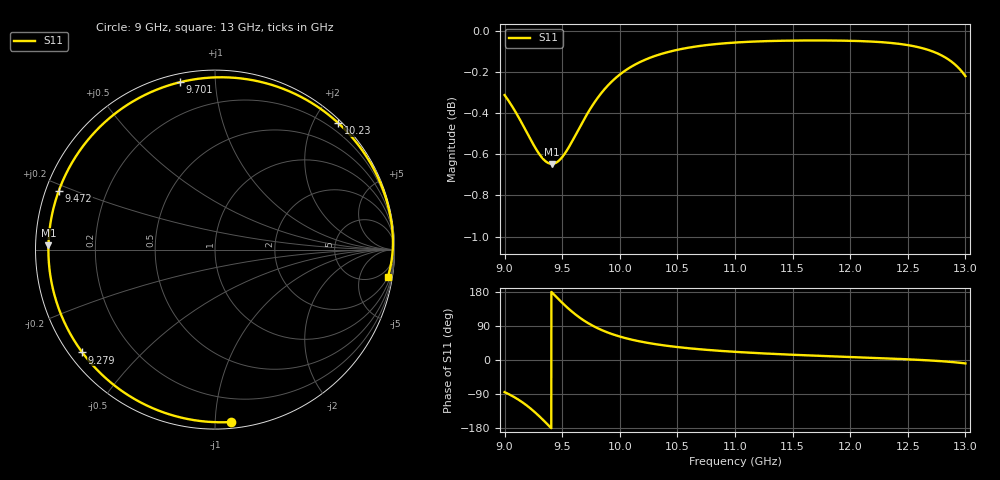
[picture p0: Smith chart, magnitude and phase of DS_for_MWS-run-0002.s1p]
! TOUCHSTONE file generated by CST DESIGN STUDIO
! Date and time: Tue Feb  4 16:22:48 2025
! Project name: C:\Work\MatlabApps\UnitCellOptimizationMatlab\CST\unitcell.cst
! Tree item: Tasks\Sweep1\SPara1\S-Parameters
! Header version: 2024
! Port assignment regex: !\s*Touchstone port\s*([0-9]+)\s*=\s*(CST MWS port|CST DES external port|CST DES block port)\s*(.+)\s* \(\"(.*)\"\)(\s*mode\s*([0-9]+))?.*
! Touchstone port assignment:
! Touchstone port 1 = CST DES external port 1 ("")
# GHz S MA R 50
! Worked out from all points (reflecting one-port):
!   4001 points, 9 GHz to 13 GHz, reference 50 ohm
!   lowest |S11| = -0.6 dB at 9.41 GHz (marker M1), VSWR 26.86, Z = 1.86 + j0.666 ohm
!   phase of S11 starts at -85 deg and turns -284 deg over the sweep
!   S11 on the Smith chart (normalised r, x): 9 GHz: 0.04, -1.10; 9.279 GHz: 0.04, -0.34; 9.472 GHz: 0.04, +0.18; 9.701 GHz: 0.04, +0.81; 10.23 GHz: 0.05, +2.37; 13 GHz: 2, -12
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9  0.9647 -84.8
9.02  0.9629 -87.6
9.084  0.9567 -98.0
9.154  0.9492 -111.6
9.218  0.9419 -126.2
9.279  0.9354 -142.2
9.348  0.93 -162.4
9.41  0.9282 178.5
9.472  0.9299 159.3
9.5  0.9318 151.0
9.55  0.9362 136.8
9.598  0.9413 124.3
9.648  0.947 112.6
9.701  0.9529 101.7
9.767  0.9595 90.1
9.845  0.9662 78.7
9.92  0.9714 69.8
10  0.9758 61.9
10.108  0.9804 53.4
10.232  0.9843 45.7
10.5  0.9894 34.2
10.723  0.9918 27.6
11  0.9934 21.5
11.5  0.9945 13.8
12  0.9944 7.9
12.5  0.992 1.8
12.785  0.9866 -3.0
13  0.9749 -9.0
